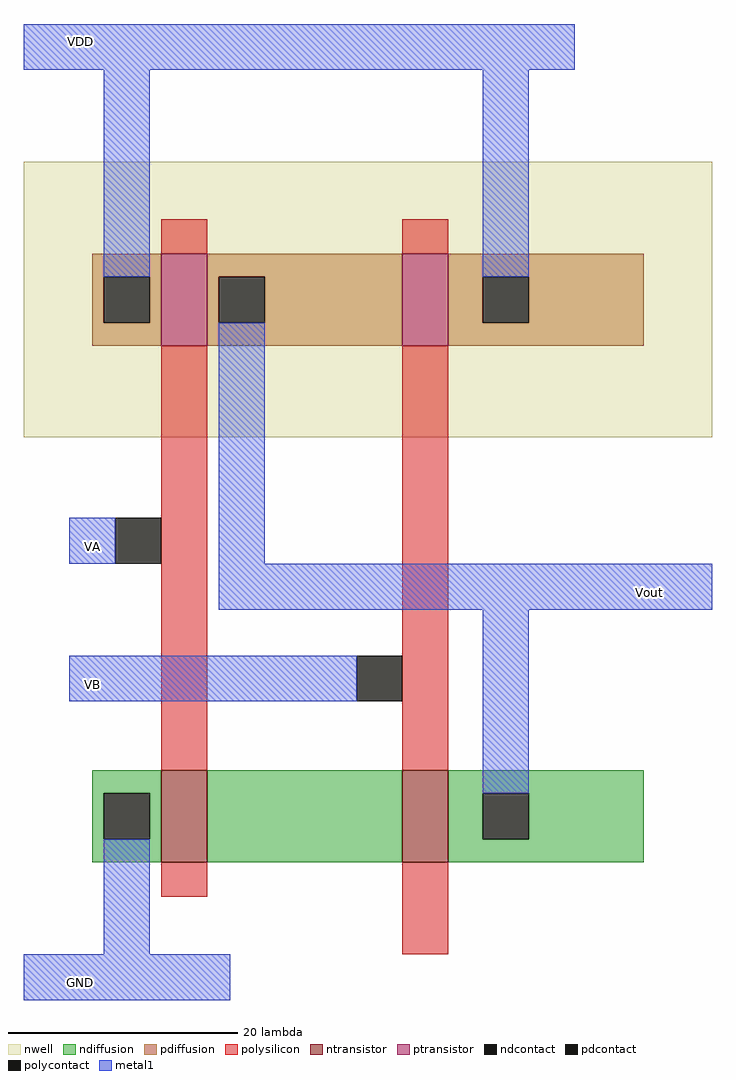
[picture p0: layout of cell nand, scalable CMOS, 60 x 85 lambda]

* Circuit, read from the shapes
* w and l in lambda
.subckt nand GND VA VB VDD Vout
M1 n1 VA GND VSUBS nfet w=8 l=4
M2 Vout VB n1 VSUBS nfet w=8 l=4
M3 Vout VA VDD n2 pfet w=8 l=4
M4 VDD VB Vout n2 pfet w=8 l=4
.ends

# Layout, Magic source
magic
tech scmos
<< nwell >>
rect -2 0 58 24
<< ntransistor >>
rect 10 -37 14 -29
rect 31 -37 35 -29
<< ptransistor >>
rect 10 8 14 16
rect 31 8 35 16
<< ndiffusion >>
rect 4 -31 10 -29
rect 4 -35 5 -31
rect 9 -35 10 -31
rect 4 -37 10 -35
rect 14 -37 31 -29
rect 35 -31 52 -29
rect 35 -35 38 -31
rect 42 -35 52 -31
rect 35 -37 52 -35
<< pdiffusion >>
rect 4 14 10 16
rect 4 10 5 14
rect 9 10 10 14
rect 4 8 10 10
rect 14 14 31 16
rect 14 10 15 14
rect 19 10 31 14
rect 14 8 31 10
rect 35 14 52 16
rect 35 10 38 14
rect 42 10 52 14
rect 35 8 52 10
<< ndcontact >>
rect 5 -35 9 -31
rect 38 -35 42 -31
<< pdcontact >>
rect 5 10 9 14
rect 15 10 19 14
rect 38 10 42 14
<< polysilicon >>
rect 10 16 14 19
rect 31 16 35 19
rect 10 -29 14 8
rect 31 -29 35 8
rect 10 -40 14 -37
rect 31 -45 35 -37
<< polycontact >>
rect 6 -11 10 -7
rect 27 -23 31 -19
<< metal1 >>
rect -2 32 46 36
rect 5 14 9 32
rect 38 14 42 32
rect 2 -11 6 -7
rect 15 -11 19 10
rect 15 -15 58 -11
rect 2 -23 27 -19
rect 38 -31 42 -15
rect 5 -45 9 -35
rect -2 -49 16 -45
<< labels >>
rlabel metal1 2 34 4 35 4 VDD
rlabel metal1 2 -48 4 -47 2 GND
rlabel metal1 51 -14 54 -13 1 Vout
rlabel metal1 3 -10 5 -9 1 VA
rlabel metal1 3 -22 5 -21 1 VB
<< end >>
